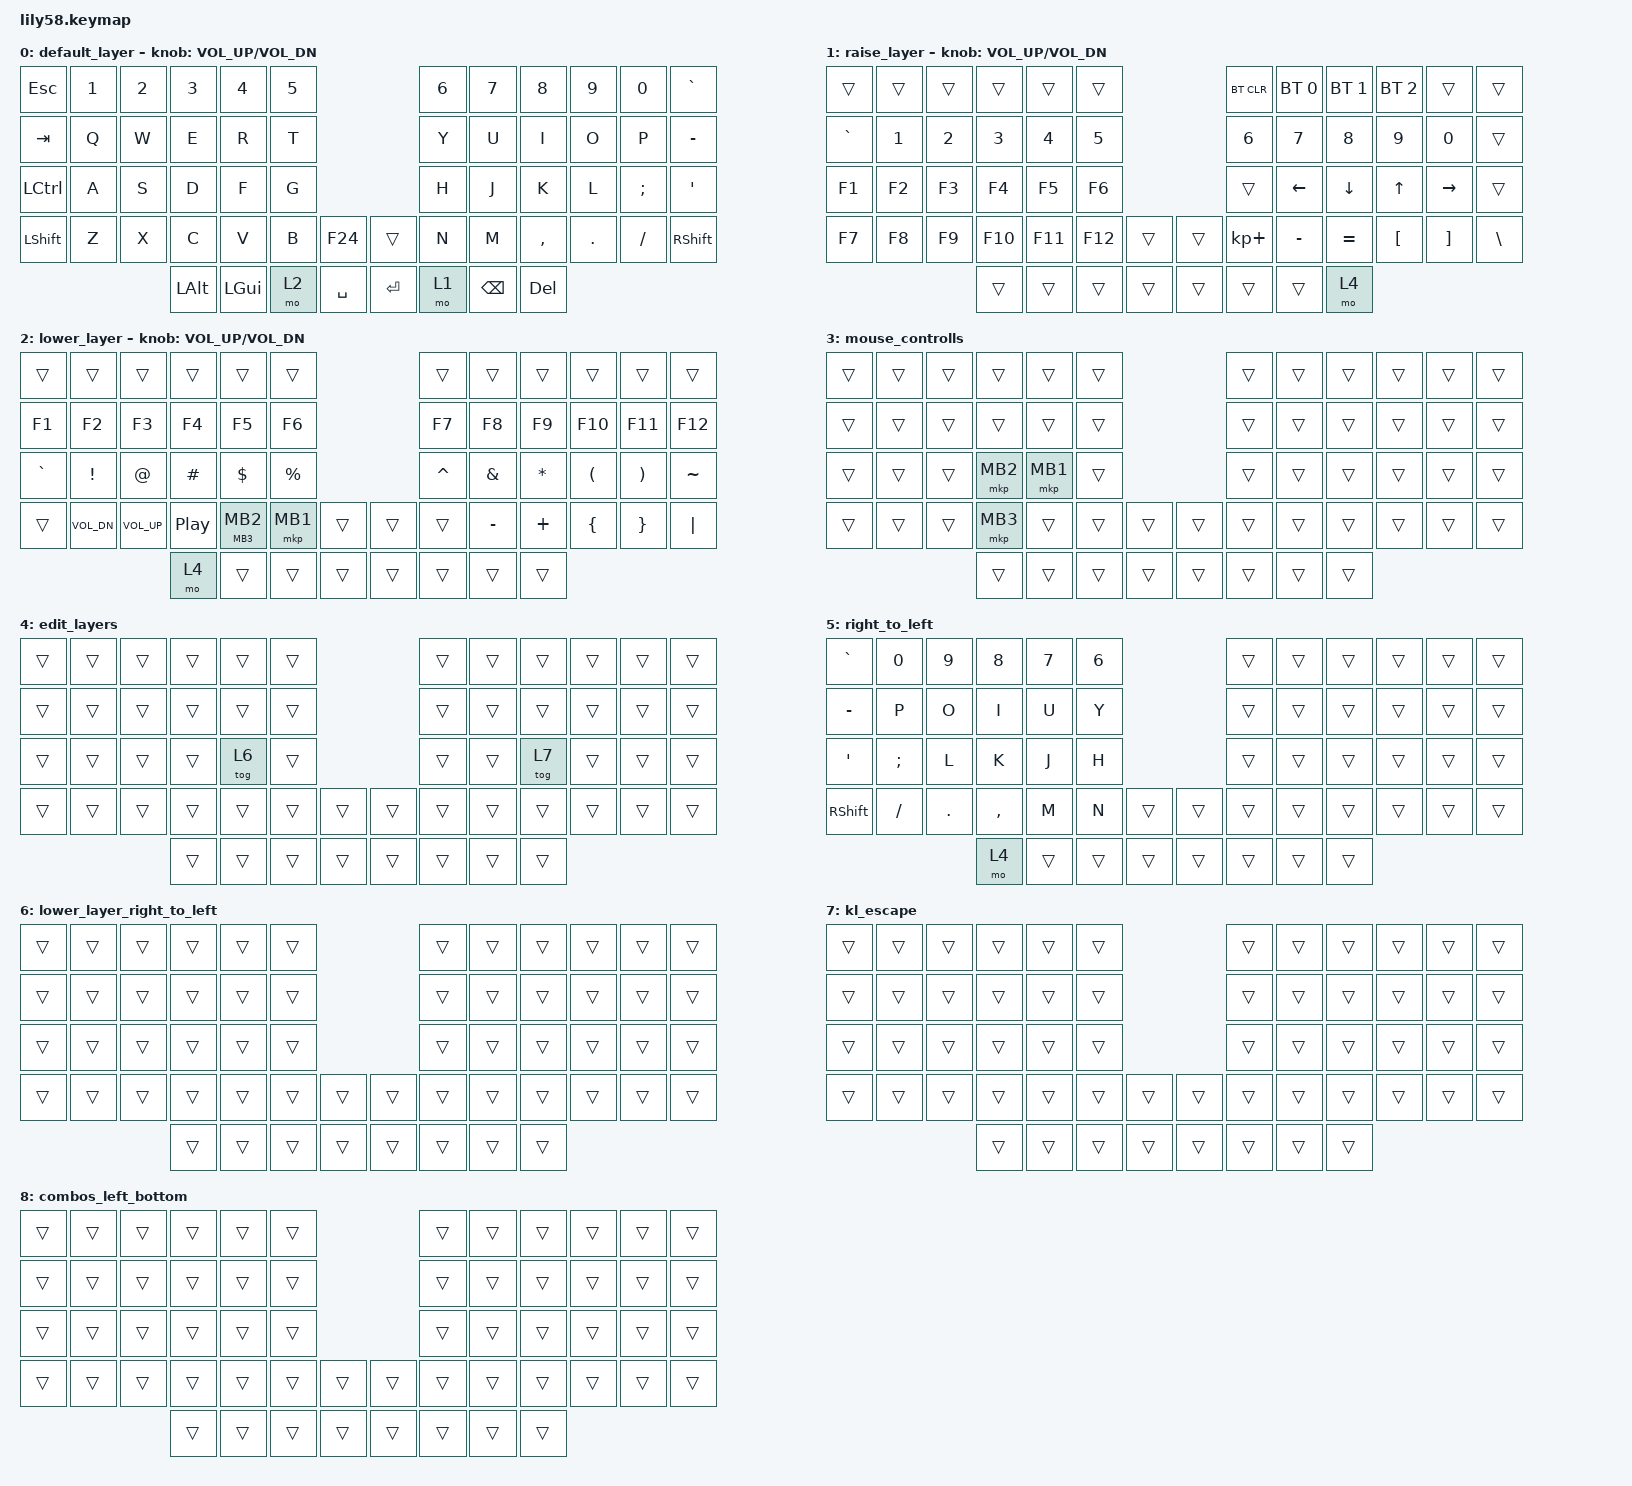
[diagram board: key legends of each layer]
/*
 * Copyright (c) 2020 The ZMK Contributors
 *
 * SPDX-License-Identifier: MIT
 */

#include <behaviors.dtsi>
#include <dt-bindings/zmk/bt.h>
#include <dt-bindings/zmk/keys.h>
#include <dt-bindings/zmk/pointing.h>

/ {
    combos {
        compatible = "zmk,combos";

        kl_escape {
            bindings = <&kp ESC>;
            key-positions = <32 33>;
            layers = <0>;
        };

        caps_lock {
            bindings = <&kp CAPSLOCK>;
            key-positions = <36 49>;
        };

        combos_left_bottom {
            bindings = <&kp KP_NUMBER_1>;
            key-positions = <37 38>;
            layers = <8>;
        };

        combos_left_bottom2 {
            bindings = <&kp KP_NUMBER_2>;
            key-positions = <37 39>;
            layers = <8>;
        };

        combos_left_bottom3 {
            bindings = <&kp KP_NUMBER_3>;
            key-positions = <37 40>;
            layers = <8>;
        };

        combos_left_bottom4 {
            bindings = <&kp KP_NUMBER_4>;
            key-positions = <38 39>;
            layers = <8>;
        };

        combos_left_bottom5 {
            bindings = <&kp KP_NUMBER_5>;
            key-positions = <38 40>;
            layers = <8>;
        };

        combos_left_bottom6 {
            bindings = <&kp KP_NUMBER_6>;
            key-positions = <39 40>;
            layers = <8>;
        };

        combos_left_bottom7 {
            bindings = <&kp KP_NUMBER_7>;
            key-positions = <37 38 39>;
            layers = <8>;
        };

        combos_left_bottom8 {
            bindings = <&kp KP_NUMBER_8>;
            key-positions = <39 40 38>;
            layers = <8>;
        };

        combos_left_bottom9 {
            bindings = <&kp KP_NUMBER_9>;
            key-positions = <40 39 37 38>;
            layers = <8>;
        };

        combos_left_bottom_minus {
            bindings = <&kp KP_SUBTRACT>;
            key-positions = <37 39 40>;
            layers = <8>;
        };

        combos_left_bottom_plus {
            bindings = <&kp KP_PLUS>;
            key-positions = <37 38 40>;
            layers = <8>;
        };

        combos_left_bottom_toggle {
            bindings = <&tog 8>;
            key-positions = <37 38 39 40>;
            layers = <4>;
        };
    };

    behaviors {
        hml: hml {
            compatible = "zmk,behavior-hold-tap";
            label = "HML";
            bindings = <&kp>, <&kp>;

            #binding-cells = <2>;
            tapping-term-ms = <200>;
            hold-trigger-key-positions = <43 44 55 54 7 8 9 10 11 19 20 21 22 23 31 32 33 34 35 45 46 47 48 49 56 57 6 18 30>;
        };

        hmr: hmr {
            compatible = "zmk,behavior-hold-tap";
            label = "HMR";
            bindings = <&kp>, <&kp>;

            #binding-cells = <2>;
            tapping-term-ms = <200>;
            hold-trigger-key-positions = <43 44 55 54 7 8 9 10 11 19 20 21 22 23 31 32 33 34 35 45 46 47 48 49 56 57 6 18 30>;
        };

        caps_word: caps_word {
            compatible = "zmk,behavior-caps-word";
            label = "CAPS_WORD";
            #binding-cells = <0>;
            continue-list = <UNDERSCORE MINUS>;
        };

        mht: mht {
            compatible = "zmk,behavior-hold-tap";
            label = "mouse hold tap";
            bindings = <&mkp>, <&mkp>;

            #binding-cells = <2>;
            tapping-term-ms = <100>;
        };
    };

    keymap {
        compatible = "zmk,keymap";

        default_layer {
            // ------------------------------------------------------------------------------------------------------------
            // |  ESC  |  1  |  2  |  3   |  4   |  5   |                   |  6   |  7    |  8    |  9   |   0   |   `   |
            // |  TAB  |  Q  |  W  |  E   |  R   |  T   |                   |  Y   |  U    |  I    |  O   |   P   |   -   |
            // |  CTRL |  A  |  S  |  D   |  F   |  G   |                   |  H   |  J    |  K    |  L   |   ;   |   '   |
            // | SHIFT |  Z  |  X  |  C   |  V   |  B   |   "["  |  |  "]"  |  N   |  M    |  ,    |  .   |   /   | SHIFT |
            //                     | ALT  | GUI  | LOWER|  SPACE |  | ENTER | RAISE| BSPC  | GUI   |

            bindings = <
&kp ESC    &kp N1  &kp N2  &kp N3    &kp N4    &kp N5                        &kp N6  &kp N7    &kp N8      &kp N9   &kp N0    &kp GRAVE
&kp TAB    &kp Q   &kp W   &kp E     &kp R     &kp T                         &kp Y   &kp U     &kp I       &kp O    &kp P     &kp MINUS
&kp LCTRL  &kp A   &kp S   &kp D     &kp F     &kp G                         &kp H   &kp J     &kp K       &kp L    &kp SEMI  &kp SQT
&kp LSHFT  &kp Z   &kp X   &kp C     &kp V     &kp B   &kp F24      &trans   &kp N   &kp M     &kp COMMA   &kp DOT  &kp FSLH  &kp RSHFT
                           &kp LALT  &kp LGUI  &mo 2   &kp SPACE    &kp RET  &mo 1   &kp BSPC  &kp DELETE
            >;

            sensor-bindings = <&inc_dec_kp C_VOL_UP C_VOL_DN>;
        };

        raise_layer {
            // ------------------------------------------------------------------------------------------------------------
            // |       |     |     |      |      |      |                   |      |       |       |      |       |       |
            // |   `   |  1  |  2  |  3   |  4   |  5   |                   |  6   |   7   |   8   |  9   |   0   |       |
            // |   F1  |  F2 |  F3 |  F4  |  F5  |  F6  |                   |      |   <-  |   v   |  ^   |  ->   |       |
            // |   F7  |  F8 |  F9 |  F10 |  F11 |  F12 |        |  |       |  +   |   -   |   =   |  [   |   ]   |   \   |
            //                     |      |      |      |        |  |       |      |       |       |

            bindings = <
&trans     &trans  &trans  &trans   &trans   &trans                     &bt BT_CLR   &bt BT_SEL 0  &bt BT_SEL 1  &bt BT_SEL 2  &trans     &trans
&kp GRAVE  &kp N1  &kp N2  &kp N3   &kp N4   &kp N5                     &kp N6       &kp N7        &kp N8        &kp N9        &kp N0     &trans
&kp F1     &kp F2  &kp F3  &kp F4   &kp F5   &kp F6                     &trans       &kp LEFT      &kp DOWN      &kp UP        &kp RIGHT  &trans
&kp F7     &kp F8  &kp F9  &kp F10  &kp F11  &kp F12  &trans    &trans  &kp KP_PLUS  &kp MINUS     &kp EQUAL     &kp LBKT      &kp RBKT   &kp BSLH
                           &trans   &trans   &trans   &trans    &trans  &trans       &trans        &mo 4
            >;

            sensor-bindings = <&inc_dec_kp C_VOL_UP C_VOL_DN>;
        };

        lower_layer {
            // ------------------------------------------------------------------------------------------------------------
            // | BTCLR | BT1 | BT2 |  BT3 |  BT4 |  BT5 |                   |      |       |       |      |       |       |
            // |  F1   |  F2 |  F3 |  F4  |  F5  |  F6  |                   |  F7  |  F8   |  F9   |  F10 |  F11  |  F12  |
            // |   `   |  !  |  @  |  #   |  $   |  %   |                   |  ^   |  &    |  *    |  (   |   )   |   ~   |
            // |       |     |     |      |      |      |        |  |       |      |  _    |  +    |  {   |   }   |  "|"  |
            //                     |      |      |      |        |  |       |      |       |       |

            bindings = <
&trans     &trans        &trans        &trans            &trans        &trans                       &trans     &trans     &trans     &trans    &trans    &trans
&kp F1     &kp F2        &kp F3        &kp F4            &kp F5        &kp F6                       &kp F7     &kp F8     &kp F9     &kp F10   &kp F11   &kp F12
&kp GRAVE  &kp EXCL      &kp AT        &kp HASH          &kp DOLLAR    &kp PRCNT                    &kp CARET  &kp AMPS   &kp ASTRK  &kp LPAR  &kp RPAR  &kp TILDE
&trans     &kp C_VOL_DN  &kp C_VOL_UP  &kp C_PLAY_PAUSE  &mht MB3 MB2  &mkp MB1   &trans    &trans  &trans     &kp MINUS  &kp PLUS   &kp LBRC  &kp RBRC  &kp PIPE
                                       &mo 4             &trans        &trans     &trans    &trans  &trans     &trans     &trans
            >;

            sensor-bindings = <&inc_dec_kp C_VOL_UP C_VOL_DN>;
        };

        mouse_controlls {
            bindings = <
&trans  &trans  &trans  &trans    &trans    &trans                    &trans  &trans  &trans  &trans  &trans  &trans
&trans  &trans  &trans  &trans    &trans    &trans                    &trans  &trans  &trans  &trans  &trans  &trans
&trans  &trans  &trans  &mkp MB2  &mkp MB1  &trans                    &trans  &trans  &trans  &trans  &trans  &trans
&trans  &trans  &trans  &mkp MB3  &trans    &trans  &trans    &trans  &trans  &trans  &trans  &trans  &trans  &trans
                        &trans    &trans    &trans  &trans    &trans  &trans  &trans  &trans
            >;
        };

        edit_layers {
            bindings = <
&trans  &trans  &trans  &trans  &trans  &trans                    &trans  &trans  &trans  &trans  &trans  &trans
&trans  &trans  &trans  &trans  &trans  &trans                    &trans  &trans  &trans  &trans  &trans  &trans
&trans  &trans  &trans  &trans  &tog 6  &trans                    &trans  &trans  &tog 7  &trans  &trans  &trans
&trans  &trans  &trans  &trans  &trans  &trans  &trans    &trans  &trans  &trans  &trans  &trans  &trans  &trans
                        &trans  &trans  &trans  &trans    &trans  &trans  &trans  &trans
            >;
        };

        right_to_left {
            bindings = <
&kp GRAVE        &kp N0    &kp N9   &kp N8     &kp N7  &kp N6                    &trans  &trans  &trans  &trans  &trans  &trans
&kp MINUS        &kp P     &kp O    &kp I      &kp U   &kp Y                     &trans  &trans  &trans  &trans  &trans  &trans
&kp SQT          &kp SEMI  &kp L    &kp K      &kp J   &kp H                     &trans  &trans  &trans  &trans  &trans  &trans
&kp RIGHT_SHIFT  &kp FSLH  &kp DOT  &kp COMMA  &kp M   &kp N   &trans    &trans  &trans  &trans  &trans  &trans  &trans  &trans
                                    &mo 4      &trans  &trans  &trans    &trans  &trans  &trans  &trans
            >;
        };

        lower_layer_right_to_left {
            bindings = <
&trans  &trans  &trans  &trans  &trans  &trans                    &trans  &trans  &trans  &trans  &trans  &trans
&trans  &trans  &trans  &trans  &trans  &trans                    &trans  &trans  &trans  &trans  &trans  &trans
&trans  &trans  &trans  &trans  &trans  &trans                    &trans  &trans  &trans  &trans  &trans  &trans
&trans  &trans  &trans  &trans  &trans  &trans  &trans    &trans  &trans  &trans  &trans  &trans  &trans  &trans
                        &trans  &trans  &trans  &trans    &trans  &trans  &trans  &trans
            >;
        };

        kl_escape {
            bindings = <
&trans  &trans  &trans  &trans  &trans  &trans                    &trans  &trans  &trans  &trans  &trans  &trans
&trans  &trans  &trans  &trans  &trans  &trans                    &trans  &trans  &trans  &trans  &trans  &trans
&trans  &trans  &trans  &trans  &trans  &trans                    &trans  &trans  &trans  &trans  &trans  &trans
&trans  &trans  &trans  &trans  &trans  &trans  &trans    &trans  &trans  &trans  &trans  &trans  &trans  &trans
                        &trans  &trans  &trans  &trans    &trans  &trans  &trans  &trans
            >;
        };

        combos_left_bottom {
            bindings = <
&trans  &trans  &trans  &trans  &trans  &trans                    &trans  &trans  &trans  &trans  &trans  &trans
&trans  &trans  &trans  &trans  &trans  &trans                    &trans  &trans  &trans  &trans  &trans  &trans
&trans  &trans  &trans  &trans  &trans  &trans                    &trans  &trans  &trans  &trans  &trans  &trans
&trans  &trans  &trans  &trans  &trans  &trans  &trans    &trans  &trans  &trans  &trans  &trans  &trans  &trans
                        &trans  &trans  &trans  &trans    &trans  &trans  &trans  &trans
            >;
        };
    };

    conditional_layers {
        compatible = "zmk,conditional-layers";

        right_to_left {
            if-layers = <6 2>;
            then-layer = <5>;
        };
    };
};
